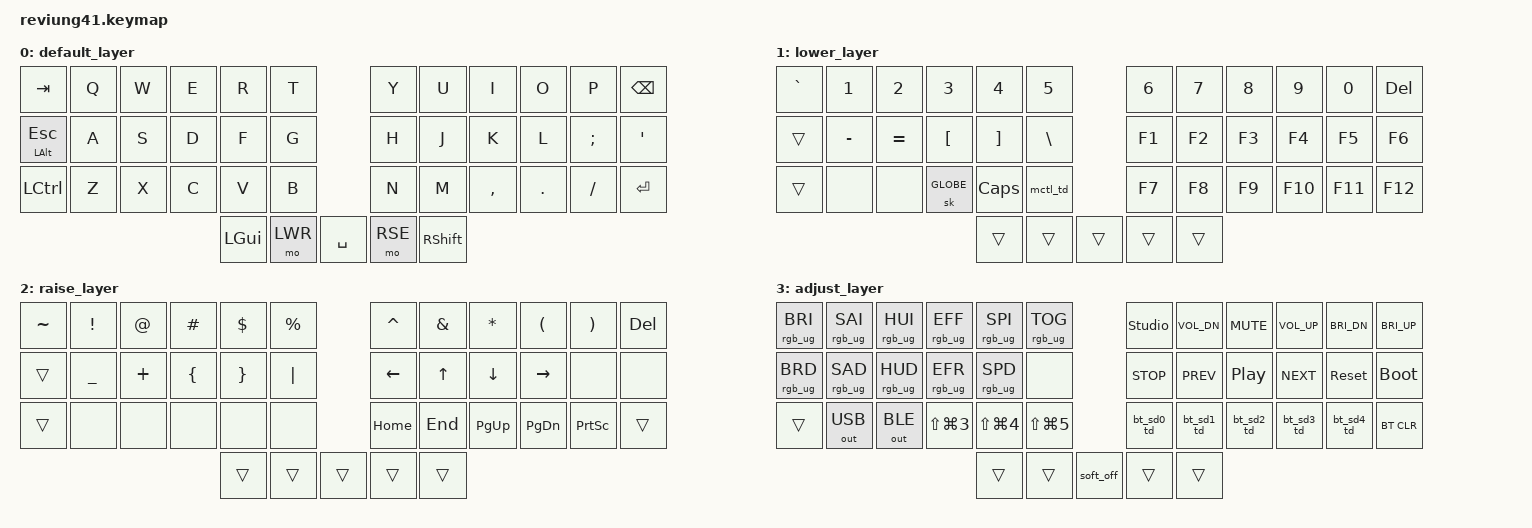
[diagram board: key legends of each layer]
/*
 * Copyright (c) 2020 The ZMK Contributors
 *
 * SPDX-License-Identifier: MIT
 */

#include <behaviors.dtsi>
#include <dt-bindings/zmk/keys.h>
#include <dt-bindings/zmk/bt.h>
#include <dt-bindings/zmk/rgb.h>
#include <dt-bindings/zmk/outputs.h>

#define DEF 0
#define LWR 1
#define RSE 2
#define ADJ 3

#define MSSFULL LS(LG(N3)) // macOS screenshot, fullscreen  (Shift+Command+3)
#define MSSAREA LS(LG(N4)) // macOS screenshot, area        (Shift+Command+4)
#define MSSAPP  LS(LG(N5)) // macOS screenshot, application (Shift+Command+5)

&led_strip {
        chain-length = <10>;
};

&soft_off {
        hold-time-ms = <1000>;
};

/ {
        behaviors {
                mctl_td: multimedia_controls_tap_dance {
                        compatible = "zmk,behavior-tap-dance";
                        #binding-cells = <0>;
                        tapping-term-ms = <200>;
                        bindings = <&kp C_PP>, <&kp C_NEXT>, <&kp C_PREV>;
                };

                bt_sd0_td: bt_sel_disc_0_td {
                        compatible = "zmk,behavior-tap-dance";
                        #binding-cells = <0>;
                        bindings = <&bt BT_SEL 0>, <&bt BT_DISC 0>;
                };
                bt_sd1_td: bt_sel_disc_1_td {
                        compatible = "zmk,behavior-tap-dance";
                        #binding-cells = <0>;
                        bindings = <&bt BT_SEL 1>, <&bt BT_DISC 1>;
                };
                bt_sd2_td: bt_sel_disc_2_td {
                        compatible = "zmk,behavior-tap-dance";
                        #binding-cells = <0>;
                        bindings = <&bt BT_SEL 2>, <&bt BT_DISC 2>;
                };
                bt_sd3_td: bt_sel_disc_3_td {
                        compatible = "zmk,behavior-tap-dance";
                        #binding-cells = <0>;
                        bindings = <&bt BT_SEL 3>, <&bt BT_DISC 3>;
                };
                bt_sd4_td: bt_sel_disc_4_td {
                        compatible = "zmk,behavior-tap-dance";
                        #binding-cells = <0>;
                        bindings = <&bt BT_SEL 4>, <&bt BT_DISC 4>;
                };

                // shft_td: shift_tap_dance {
                //         compatible = "zmk,behavior-tap-dance";
                //         #binding-cells = <0>;
                //         tapping-term-ms = <200>;
                //         bindings = <&kp RSHFT>, <&caps_word>;
                // };

                // hrm: home_row_mods {
                //         compatible = "zmk,behavior-hold-tap";
                //         #binding-cells = <2>;
                //         flavor = "balanced";
                //         tapping-term-ms = <200>;
                //         quick-tap-ms = <200>;
                //         require-prior-idle-ms = <125>;
                //         bindings = <&kp>, <&kp>;
                // };

                // rgb_ar: rgb_ug_auto_repeat_behavior {
                //         compatible = "zmk,behavior-auto-repeat";
                //         label = "RGB_AR";
                //         #binding-cells = <2>;
                //         bindings = <&rgb_ug>;
                //         initial-delay-ms = <400>;
                //         repeat-delay-ms = <200>;
                // };
                // kp_ar: kp_auto_repeat_behavior {
                //         compatible = "zmk,behavior-auto-repeat";
                //         label = "KP_AR";
                //         #binding-cells = <1>;
                //         bindings = <&kp>;
                // };
        };

        conditional_layers {
                compatible = "zmk,conditional-layers";
                tri_layer {
                        if-layers = <LWR RSE>;
                        then-layer = <ADJ>;
                };
        };

        keymap {
                compatible = "zmk,keymap";

                default_layer {
                        bindings = <
&kp TAB         &kp Q           &kp W           &kp E           &kp R           &kp T                           &kp Y           &kp U           &kp I           &kp O           &kp P           &kp BSPC
&mt LALT ESC    &kp A           &kp S           &kp D           &kp F           &kp G                           &kp H           &kp J           &kp K           &kp L           &kp SEMI        &kp SQT
&kp LCTRL       &kp Z           &kp X           &kp C           &kp V           &kp B                           &kp N           &kp M           &kp COMMA       &kp DOT         &kp FSLH        &kp RET
                                                                &kp LGUI        &mo LWR         &kp SPACE       &mo RSE         &kp RSHFT
                        >;
                };

                lower_layer {
                        bindings = <
&kp GRAVE       &kp N1          &kp N2          &kp N3          &kp N4          &kp N5                          &kp N6          &kp N7          &kp N8          &kp N9          &kp N0          &kp DEL
&trans          &kp MINUS       &kp EQUAL       &kp LBKT        &kp RBKT        &kp BSLH                        &kp F1          &kp F2          &kp F3          &kp F4          &kp F5          &kp F6
&trans          &none           &none           &sk GLOBE       &kp CLCK        &mctl_td                        &kp F7          &kp F8          &kp F9          &kp F10         &kp F11         &kp F12
                                                                &trans          &trans          &trans          &trans          &trans
                        >;
                };

                raise_layer {
                        bindings = <
&kp TILDE       &kp EXCL        &kp AT          &kp HASH        &kp DLLR        &kp PRCNT                       &kp CARET       &kp AMPS        &kp ASTRK       &kp LPAR        &kp RPAR        &kp DEL
&trans          &kp UNDER       &kp PLUS        &kp LBRC        &kp RBRC        &kp PIPE                        &kp LEFT        &kp UP          &kp DOWN        &kp RIGHT       &none           &none
&trans          &none           &none           &none           &none           &none                           &kp HOME        &kp END         &kp PG_UP       &kp PG_DN       &kp PSCRN       &trans
                                                                &trans          &trans          &trans          &trans          &trans
                        >;
                };

                adjust_layer {
                        bindings = <
&rgb_ug RGB_BRI &rgb_ug RGB_SAI &rgb_ug RGB_HUI &rgb_ug RGB_EFF &rgb_ug RGB_SPI &rgb_ug RGB_TOG                 &studio_unlock  &kp C_VOL_DN    &kp C_MUTE      &kp C_VOL_UP    &kp C_BRI_DN    &kp C_BRI_UP
&rgb_ug RGB_BRD &rgb_ug RGB_SAD &rgb_ug RGB_HUD &rgb_ug RGB_EFR &rgb_ug RGB_SPD &none                           &kp C_STOP      &kp C_PREV      &kp C_PP        &kp C_NEXT      &sys_reset      &bootloader
&trans          &out OUT_USB    &out OUT_BLE    &kp MSSFULL     &kp MSSAREA     &kp MSSAPP                      &bt_sd0_td      &bt_sd1_td      &bt_sd2_td      &bt_sd3_td      &bt_sd4_td      &bt BT_CLR
                                                                &trans          &trans          &soft_off       &trans          &trans
                        >;
                };

                extra1 {
                    status = "reserved";
                };

                extra2 {
                    status = "reserved";
                };

                extra3 {
                    status = "reserved";
                };

                extra4 {
                    status = "reserved";
                };
        };
};
